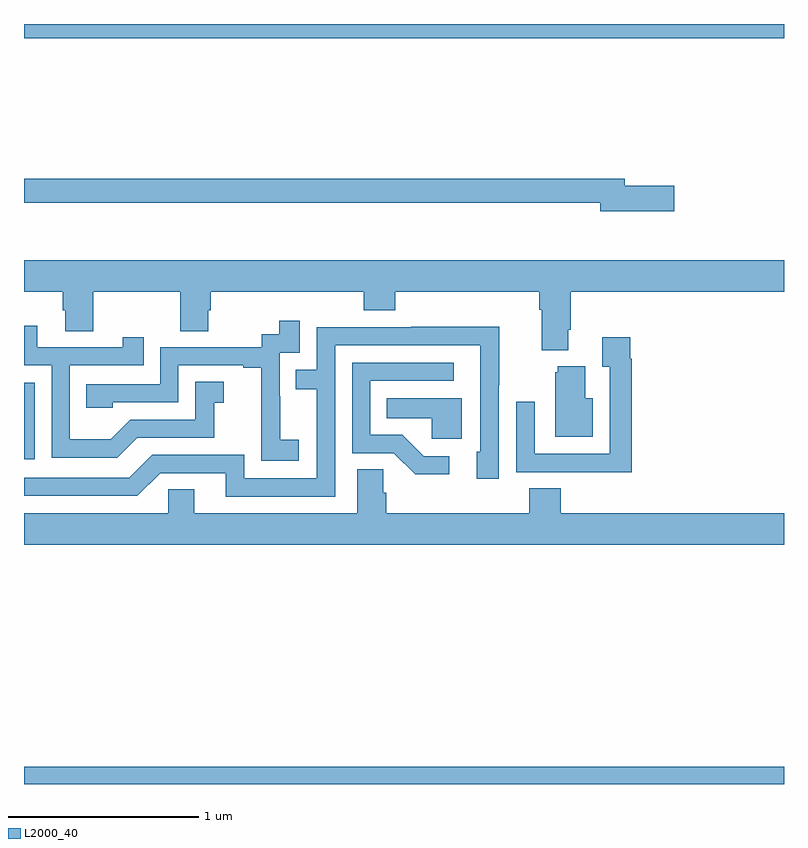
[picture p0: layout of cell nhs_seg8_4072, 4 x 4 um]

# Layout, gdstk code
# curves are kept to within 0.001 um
import gdstk
lib = gdstk.Library(unit=1e-6, precision=1e-09)
def R(c, l, rs):  # rectangles x0, y0, x1, y1
    for r in rs: c.add(gdstk.rectangle(r[:2], r[2:], *l))
def P(c, l, *ps):  # polygons
    for p in ps: c.add(gdstk.Polygon(p, *l))
L2000_40 = (2000, 40)

nhs_seg8_4072 = lib.new_cell('nhs_seg8_4072')
R(nhs_seg8_4072, L2000_40, [(361,1121.9,365,1121.992), (361,1123.608,361.056,1124.013), (361,1125.824,365,1125.9)])
P(nhs_seg8_4072, L2000_40, [(364.423,1125.05),(364.162,1125.05),(364.162,1125.086),(361,1125.086),(361,1124.958),(364.034,1124.958),(364.034,1124.915),(364.423,1124.915)],
  [(363.865,1124.29),(363.878,1124.29),(363.878,1124.492),(365,1124.492),(365,1124.656),(361,1124.656),(361,1124.492),(361.205,1124.492),(361.205,1124.394),(361.217,1124.394),(361.217,1124.284),(361.365,1124.284),(361.365,1124.492),(361.822,1124.492),(361.822,1124.284),(361.969,1124.284),(361.969,1124.394),(361.982,1124.394),(361.982,1124.492),(362.789,1124.492),(362.789,1124.393),(362.954,1124.393),(362.954,1124.492),(363.713,1124.492),(363.713,1124.396),(363.725,1124.396),(363.725,1124.183),(363.865,1124.183)],
  [(362.446,1123.711),(362.348,1123.711),(362.348,1123.94),(362.346,1123.94),(362.346,1124.169),(362.451,1124.169),(362.451,1124.338),(362.343,1124.338),(362.343,1124.268),(362.25,1124.268),(362.25,1124.199),(361.716,1124.199),(361.716,1124.004),(361.327,1124.004),(361.327,1123.881),(361.467,1123.881),(361.467,1123.908),(361.812,1123.908),(361.812,1124.103),(362.153,1124.103),(362.153,1124.091),(362.249,1124.091),(362.249,1123.807),(362.248,1123.807),(362.248,1123.601),(362.446,1123.601)],
  [(361.597,1123.722),(362.001,1123.722),(362.001,1123.907),(362.05,1123.907),(362.05,1124.017),(361.902,1124.017),(361.902,1123.818),(361.56,1123.818),(361.456,1123.714),(361.242,1123.714),(361.242,1124.103),(361.631,1124.103),(361.631,1124.251),(361.52,1124.251),(361.52,1124.199),(361.069,1124.199),(361.069,1124.311),(361,1124.311),(361,1124.103),(361.146,1124.103),(361.146,1123.617),(361.492,1123.617)],
  [(362.637,1124.208),(363.401,1124.208),(363.402,1123.65),(363.383,1123.65),(363.383,1123.506),(363.498,1123.506),(363.498,1123.999),(363.501,1123.999),(363.501,1124.306),(363.037,1124.306),(363.037,1124.304),(362.541,1124.304),(362.541,1124.079),(362.431,1124.079),(362.431,1123.978),(362.541,1123.978),(362.541,1123.509),(362.16,1123.509),(362.16,1123.632),(361.674,1123.632),(361.554,1123.512),(361,1123.512),(361,1123.416),(361.596,1123.416),(361.716,1123.536),(362.063,1123.536),(362.063,1123.413),(362.637,1123.413)],
  [(364.199,1124.138),(364.192,1124.138),(364.192,1124.251),(364.043,1124.251),(364.043,1124.095),(364.083,1124.095),(364.083,1123.638),(363.687,1123.638),(363.687,1123.912),(363.591,1123.912),(363.591,1123.542),(363.907,1123.542),(363.907,1123.541),(364.199,1123.541)],
  [(363.238,1123.626),(363.103,1123.626),(362.992,1123.737),(362.823,1123.737),(362.823,1124.022),(363.262,1124.022),(363.262,1124.118),(362.727,1124.118),(362.727,1123.641),(362.946,1123.641),(363.059,1123.529),(363.238,1123.529)],
  [(363.994,1123.93),(363.955,1123.93),(363.955,1124.098),(363.809,1124.098),(363.809,1124.067),(363.797,1124.067),(363.797,1123.727),(363.994,1123.727)],
  [(363.304,1123.93),(362.908,1123.93),(362.908,1123.826),(363.147,1123.826),(363.147,1123.718),(363.304,1123.718)],
  [(365,1123.324),(363.824,1123.324),(363.824,1123.457),(363.659,1123.457),(363.659,1123.324),(362.906,1123.324),(362.906,1123.433),(362.892,1123.433),(362.892,1123.556),(362.753,1123.556),(362.753,1123.324),(361.897,1123.324),(361.897,1123.451),(361.758,1123.451),(361.758,1123.324),(361,1123.324),(361,1123.16),(365,1123.16)])

lib.write_gds('nhs_seg8_4072.gds')
